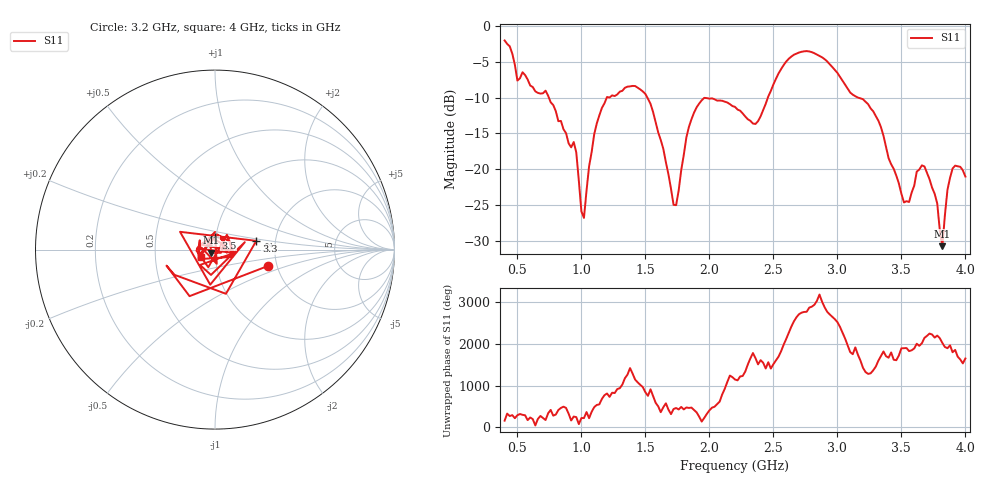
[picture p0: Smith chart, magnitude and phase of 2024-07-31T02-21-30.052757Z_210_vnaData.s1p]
!Created with skrf (http://scikit-rf.org).
# Hz S RI R 50.0
!freq ReS11 ImS11
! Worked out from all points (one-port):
!   181 points, 400 MHz to 4 GHz, reference 50 ohm
!   lowest |S11| = -30.7 dB at 3.82 GHz (marker M1), VSWR 1.06, Z = 47.7 - j1.68 ohm
!   |S11| at or under -10 dB: 745.7 MHz to 1.198 GHz (452.4 MHz wide, 46.5 % of centre); 1.515 GHz to 2.457 GHz (941.8 MHz wide, 47.4 % of centre); 3.161 GHz to end of sweep
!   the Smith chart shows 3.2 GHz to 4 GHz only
!   S11 on the Smith chart (normalised r, x): 3.2 GHz: 1.79, -0.36; 3.3 GHz: 1.59, +0.16; 3.5 GHz: 0.99, +0.13; 4 GHz: 0.85, -0.07
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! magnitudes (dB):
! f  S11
! 400 MHz  -2.0
! 500 MHz  -7.6
! 720 MHz  -9.0
! 860 MHz  -14.4
! 960 MHz  -17.7
! 1.02 GHz  -26.8
! 1.12 GHz  -13.6
! 1.3 GHz  -9.2
! 1.5 GHz  -9.5
! 1.72 GHz  -25.0
! 1.76 GHz  -23.0
! 1.82 GHz  -15.6
! 1.92 GHz  -10.8
! 2.2 GHz  -11.3
! 2.36 GHz  -13.7
! 2.66 GHz  -4.0
! 2.88 GHz  -4.4
! 3.1 GHz  -9.3
! 3.2 GHz  -10.2
! 3.3 GHz  -12.6
! 3.5 GHz  -23.4
! 3.56 GHz  -24.6
! 3.68 GHz  -19.6
! 3.78 GHz  -24.8
! 3.82 GHz  -30.7
! 3.86 GHz  -22.9
! 3.9 GHz  -19.9
! 4 GHz  -21.0
